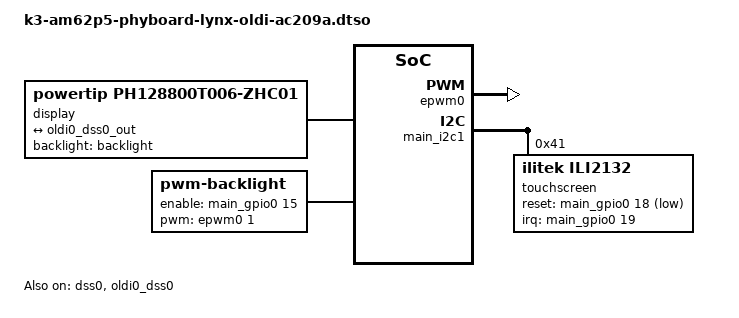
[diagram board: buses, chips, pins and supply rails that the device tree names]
// SPDX-License-Identifier: GPL-2.0-only OR MIT
/*
 * Copyright (C) 2026 PHYTEC America LLC
 * Author: True Loan <tloan@phytec.com>
 *
 * Copyright (C) 2026 PHYTEC America LLC
 * Author: John Ma <jma@phytec.com>
 */

/dts-v1/;
/plugin/;

#include <dt-bindings/gpio/gpio.h>
#include <dt-bindings/interrupt-controller/irq.h>
#include "k3-pinctrl.h"

&{/} {
	display {
		compatible = "powertip,ph128800t006-zhc01";
		backlight = <&backlight>;

		ports {
			#address-cells = <1>;
			#size-cells = <0>;
			port@0 {
				reg = <0>;
				lcd_in0: endpoint {
					remote-endpoint = <&oldi0_dss0_out>;
				};
			};
		};
	};

	backlight: backlight {
		pinctrl-names = "default";
		pinctrl-0 = <&bl_pwm_pins_default>;

		compatible = "pwm-backlight";

		brightness-levels = <0 4 8 16 32 64 128 255>;
		default-brightness-level = <6>;

		enable-gpios = <&main_gpio0 15 GPIO_ACTIVE_HIGH>;
		pwms = <&epwm0 1 50000 0>;
	};
};

&main_pmx0 {
	bl_pwm_pins_default: bl-pwm-default-pins {
		pinctrl-single,pins = <
			AM62PX_IOPAD(0x01b8, PIN_INPUT, 2) /* (E20) SPI0_CS1.EHRPWM0_B */
			AM62PX_IOPAD(0x003c, PIN_INPUT, 7) /* (U22) GPMC0_AD0.GPIO0_15 */
		>;
	};

	touch_screen_pins_default: touch-screen-default-pins {
		pinctrl-single,pins = <
			AM62PX_IOPAD(0x0048, PIN_OUTPUT, 7) /* (V25) GPMC0_AD3.GPIO0_18 - RST */
			AM62PX_IOPAD(0x004c, PIN_INPUT, 7) /* (T20) GPMC0_AD4.GPIO0_19 - INT */
		>;
	};

	main_oldi0_pins_default: main-oldi0-default-pins {
		pinctrl-single,pins = <
			AM62PX_IOPAD(0x0260, PIN_OUTPUT, 0) /* (AE20) OLDI0_A0N */
			AM62PX_IOPAD(0x025c, PIN_OUTPUT, 0) /* (AD20) OLDI0_A0P */
			AM62PX_IOPAD(0x0268, PIN_OUTPUT, 0) /* (AC19) OLDI0_A1N */
			AM62PX_IOPAD(0x0264, PIN_OUTPUT, 0) /* (AD19) OLDI0_A1P */
			AM62PX_IOPAD(0x0270, PIN_OUTPUT, 0) /* (AA19) OLDI0_A2N */
			AM62PX_IOPAD(0x026c, PIN_OUTPUT, 0) /* (AB19) OLDI0_A2P */
			AM62PX_IOPAD(0x0278, PIN_OUTPUT, 0) /* (AD18) OLDI0_A3N */
			AM62PX_IOPAD(0x0274, PIN_OUTPUT, 0) /* (AD19) OLDI0_A3P */
			AM62PX_IOPAD(0x02a0, PIN_OUTPUT, 0) /* (AE18) OLDI0_CLK0N */
			AM62PX_IOPAD(0x029c, PIN_OUTPUT, 0) /* (AE17) OLDI0_CLK0P */
		>;
	};
};

&epwm0 {
	status = "okay";
};

&dss0 {
	pinctrl-names = "default";
	pinctrl-0 = <&main_oldi0_pins_default>;
	status = "okay";
};

&dss0_ports {
	#address-cells = <1>;
	#size-cells = <0>;

	/* VP1: LVDS Output */
	port@0 {
		reg = <0>;
		#address-cells = <1>;
		#size-cells = <0>;

		dss0_out0: endpoint@0 {
			reg = <0>;
			remote-endpoint = <&oldi0_dss0_in>;
		};
	};
};

&main_i2c1 {
	#address-cells = <1>;
	#size-cells = <0>;

	touchscreen@41 {
		compatible = "ilitek,ili2132";
		reg = <0x41>;

		pinctrl-names = "default";
		pinctrl-0 = <&touch_screen_pins_default>;

		interrupt-parent = <&main_gpio0>;
		interrupts = <19 IRQ_TYPE_EDGE_FALLING>;

		reset-gpios = <&main_gpio0 18 GPIO_ACTIVE_LOW>;
		irq-gpios = <&main_gpio0 19 GPIO_ACTIVE_HIGH>;
	};
};

&oldi0_dss0 {
	ti,oldi-io-ctrl = <&dss_oldi_io_ctrl>;
	status = "okay";
};

&oldi0_dss0_port0 {
	oldi0_dss0_in: endpoint {
		remote-endpoint = <&dss0_out0>;
	};
};

&oldi0_dss0_port1 {
	oldi0_dss0_out: endpoint {
		remote-endpoint = <&lcd_in0>;
	};
};
